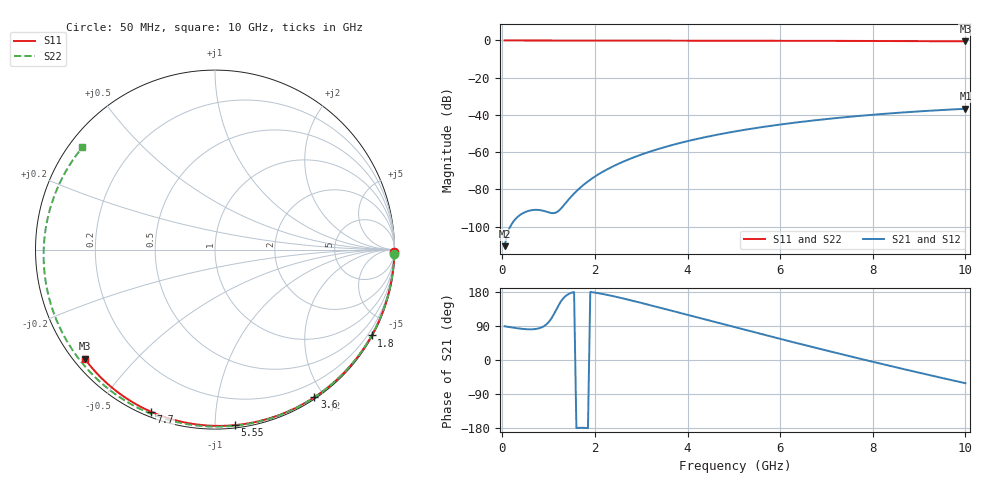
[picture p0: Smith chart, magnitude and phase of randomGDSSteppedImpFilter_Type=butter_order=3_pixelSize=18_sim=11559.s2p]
! freq	dB(S11)	phase(S11)	dB(S12)	phase(S12)
!  dB(S21)	phase(S21)	dB(S22)	phase(S22)
!S-par simulation data
#  GHz  S  DB  R 50
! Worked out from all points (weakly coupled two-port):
!   200 points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, 50 MHz to 10 GHz, reference 50 ohm
!   highest |S21| = -36.71 dB at 10 GHz (marker M1); lowest = -110.5 dB at 50 MHz (marker M2)
!   lowest |S11| = -0.5 dB at 10 GHz (marker M3), VSWR 36.62, Z = 1.55 - j18.2 ohm
!   |S11| at or under -10 dB: nowhere
!   |S22| runs from -0.6 to 0.0 dB; largest |S21 - S12| = 0
!   S11 on the Smith chart (normalised r, x): 50 MHz: open; 1.8 GHz: 0.03, -3.91; 3.6 GHz: 0.02, -1.88; 5.55 GHz: 0.02, -1.12; 7.7 GHz: 0.02, -0.68; 10 GHz: 0.03, -0.36
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0.05  -0.00 -0.8  -110.48 89.0  -110.48 89.0  -0.00 -1.3
0.4  -0.01 -6.5  -93.43 82.6  -93.43 82.6  -0.01 -10.5
0.8  -0.02 -12.9  -91.08 83.9  -91.08 83.9  -0.03 -20.9
1.6  -0.03 -25.6  -80.97 -179.6  -80.97 -179.6  -0.05 -41.3
1.65  -0.03 -26.3  -79.79 -179.0  -79.79 -179.0  -0.05 -42.5
1.75  -0.04 -27.9  -77.64 -178.9  -77.64 -178.9  -0.06 -45.0
1.8  -0.04 -28.7  -76.64 -179.3  -76.64 -179.3  -0.06 -46.3
2.1  -0.04 -33.4  -71.54 175.8  -71.54 175.8  -0.07 -53.6
2.5  -0.05 -39.5  -66.33 165.6  -66.33 165.6  -0.08 -63.2
2.9  -0.06 -45.6  -62.21 153.8  -62.21 153.8  -0.09 -72.6
3.4  -0.07 -53.1  -58.06 138.2  -58.06 138.2  -0.11 -83.9
3.6  -0.08 -56.0  -56.63 131.8  -56.63 131.8  -0.11 -88.3
4.3  -0.09 -66.2  -52.37 109.4  -52.37 109.4  -0.14 -103.4
5.05  -0.12 -76.7  -48.76 85.5  -48.76 85.5  -0.18 -118.8
5.55  -0.14 -83.6  -46.75 69.7  -46.75 69.7  -0.20 -128.8
6.15  -0.16 -91.6  -44.67 51.0  -44.67 51.0  -0.24 -140.6
6.7  -0.19 -98.8  -43.02 34.1  -43.02 34.1  -0.28 -151.2
7.2  -0.22 -105.3  -41.70 19.0  -41.70 19.0  -0.32 -160.8
7.7  -0.26 -111.6  -40.53 4.1  -40.53 4.1  -0.36 -170.5
8.35  -0.31 -119.7  -39.21 -14.9  -39.21 -14.9  -0.42 176.8
9.2  -0.39 -130.2  -37.78 -39.2  -37.78 -39.2  -0.51 159.5
10  -0.47 -140.0  -36.71 -61.2  -36.71 -61.2  -0.60 142.4
